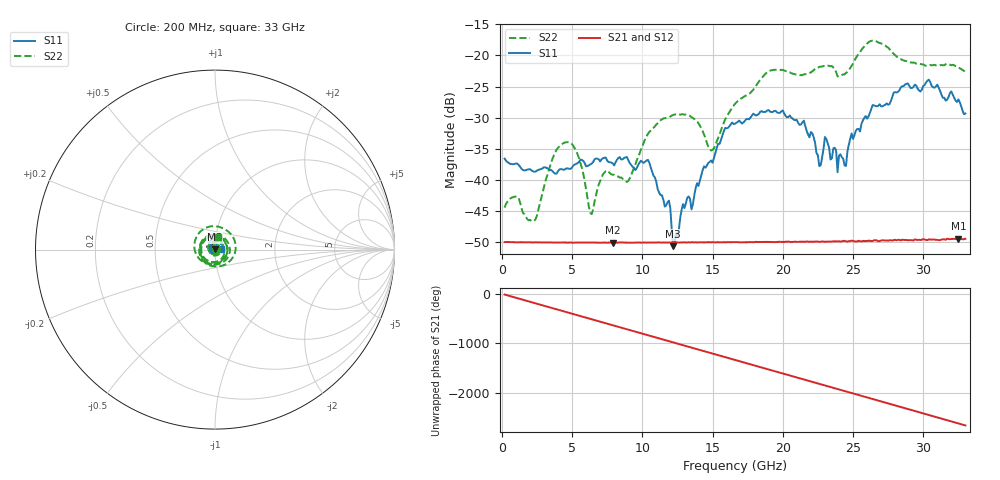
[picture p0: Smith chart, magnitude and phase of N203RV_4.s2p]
# GHZ S RI R 50
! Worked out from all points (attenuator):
!   329 points, 200 MHz to 33 GHz, reference 50 ohm
!   highest |S21| = -49.43 dB at 32.5 GHz (marker M1); lowest = -50.1 dB at 7.9 GHz (marker M2)
!   lowest |S11| = -50.6 dB at 12.2 GHz (marker M3), VSWR 1.01, Z = 49.7 + j0.135 ohm
!   |S11| at or under -10 dB: start of sweep to end of sweep
!   |S22| runs from -46.6 to -17.6 dB; largest |S21 - S12| = 7.2e-05
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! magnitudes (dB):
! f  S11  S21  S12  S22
! 200 MHz  -36.6  -50.0  -49.9  -44.4
! 2.3 GHz  -38.7  -50.0  -50.0  -46.6
! 4.4 GHz  -38.4  -50.0  -50.0  -34.1
! 5.7 GHz  -36.8  -50.0  -50.0  -38.1
! 6.4 GHz  -37.4  -50.0  -50.0  -45.5
! 7.9 GHz  -37.3  -50.1  -50.1  -39.1
! 9 GHz  -36.8  -50.1  -50.0  -40.2
! 10.4 GHz  -36.8  -50.0  -50.0  -32.6
! 11.2 GHz  -42.0  -50.0  -50.0  -30.6
! 11.9 GHz  -43.3  -50.0  -50.0  -29.9
! 12.2 GHz  -50.6  -50.0  -50.0  -29.6
! 14.9 GHz  -36.9  -50.0  -50.0  -35.3
! 16.6 GHz  -31.0  -50.0  -50.0  -27.8
! 22.1 GHz  -32.5  -49.9  -49.9  -22.6
! 22.6 GHz  -37.8  -49.9  -49.9  -21.8
! 23 GHz  -33.1  -49.9  -49.9  -21.8
! 23.9 GHz  -38.8  -49.9  -49.8  -23.4
! 26.4 GHz  -28.0  -49.8  -49.7  -17.6
! 27.6 GHz  -27.8  -49.7  -49.7  -19.0
! 30.4 GHz  -23.9  -49.5  -49.6  -21.6
! 32.5 GHz  -27.1  -49.4  -49.5  -21.9
! 33 GHz  -29.3  -49.4  -49.4  -22.7
